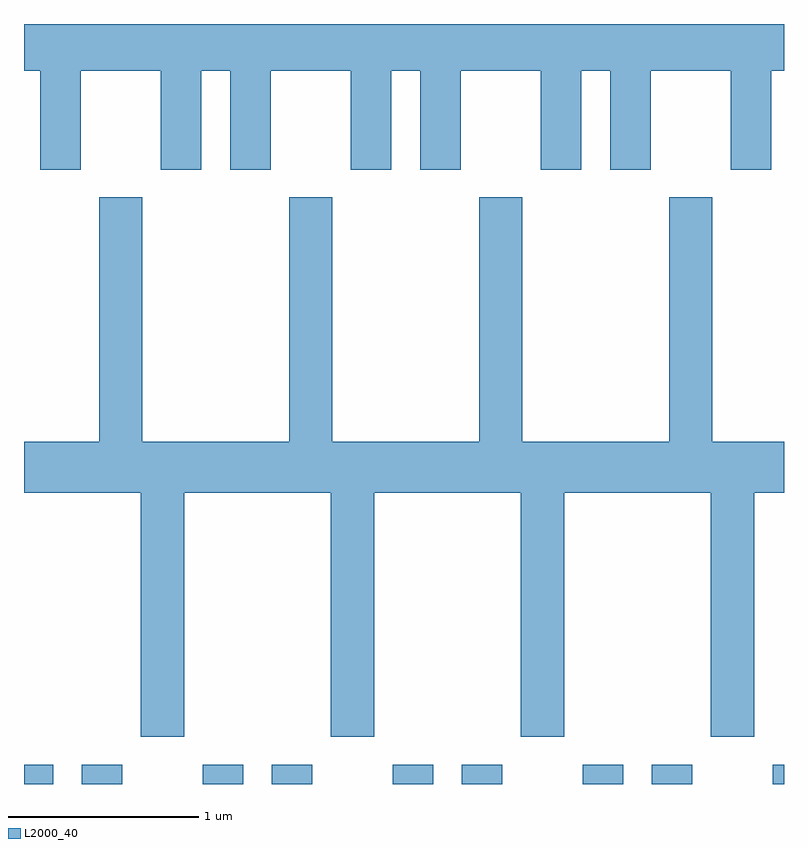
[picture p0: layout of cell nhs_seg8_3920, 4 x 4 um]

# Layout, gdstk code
import gdstk
lib = gdstk.Library(unit=1e-6, precision=1e-09)
def R(c, l, rs):  # rectangles x0, y0, x1, y1
    for r in rs: c.add(gdstk.rectangle(r[:2], r[2:], *l))
def P(c, l, *ps):  # polygons
    for p in ps: c.add(gdstk.Polygon(p, *l))
L2000_40 = (2000, 40)

nhs_seg8_3920 = lib.new_cell('nhs_seg8_3920')
R(nhs_seg8_3920, L2000_40, [(301.611,1930.342,301.764,1930.444), (301.916,1930.342,302.129,1930.444), (302.551,1930.342,302.764,1930.444), (302.916,1930.342,303.129,1930.444), (303.551,1930.342,303.764,1930.444), (303.916,1930.342,304.129,1930.444), (304.551,1930.342,304.764,1930.444), (304.916,1930.342,305.129,1930.444), (305.551,1930.342,305.611,1930.444)])
P(nhs_seg8_3920, L2000_40, [(301.909,1934.096),(302.331,1934.096),(302.331,1933.576),(302.544,1933.576),(302.544,1934.096),(302.696,1934.096),(302.696,1933.576),(302.909,1933.576),(302.909,1934.096),(303.331,1934.096),(303.331,1933.576),(303.544,1933.576),(303.544,1934.096),(303.696,1934.096),(303.696,1933.576),(303.909,1933.576),(303.909,1934.096),(304.331,1934.096),(304.331,1933.576),(304.544,1933.576),(304.544,1934.096),(304.696,1934.096),(304.696,1933.576),(304.909,1933.576),(304.909,1934.096),(305.331,1934.096),(305.331,1933.576),(305.544,1933.576),(305.544,1934.096),(305.611,1934.096),(305.611,1934.342),(301.611,1934.342),(301.611,1934.096),(301.696,1934.096),(301.696,1933.576),(301.909,1933.576)],
  [(302.454,1931.876),(303.226,1931.876),(303.226,1930.591),(303.454,1930.591),(303.454,1931.876),(304.226,1931.876),(304.226,1930.591),(304.454,1930.591),(304.454,1931.876),(305.226,1931.876),(305.226,1930.591),(305.454,1930.591),(305.454,1931.876),(305.611,1931.876),(305.611,1932.144),(305.234,1932.144),(305.234,1933.429),(305.006,1933.429),(305.006,1932.144),(304.234,1932.144),(304.234,1933.429),(304.006,1933.429),(304.006,1932.144),(303.234,1932.144),(303.234,1933.429),(303.006,1933.429),(303.006,1932.144),(302.234,1932.144),(302.234,1933.429),(302.006,1933.429),(302.006,1932.144),(301.611,1932.144),(301.611,1931.876),(302.226,1931.876),(302.226,1930.591),(302.454,1930.591)])

lib.write_gds('nhs_seg8_3920.gds')
